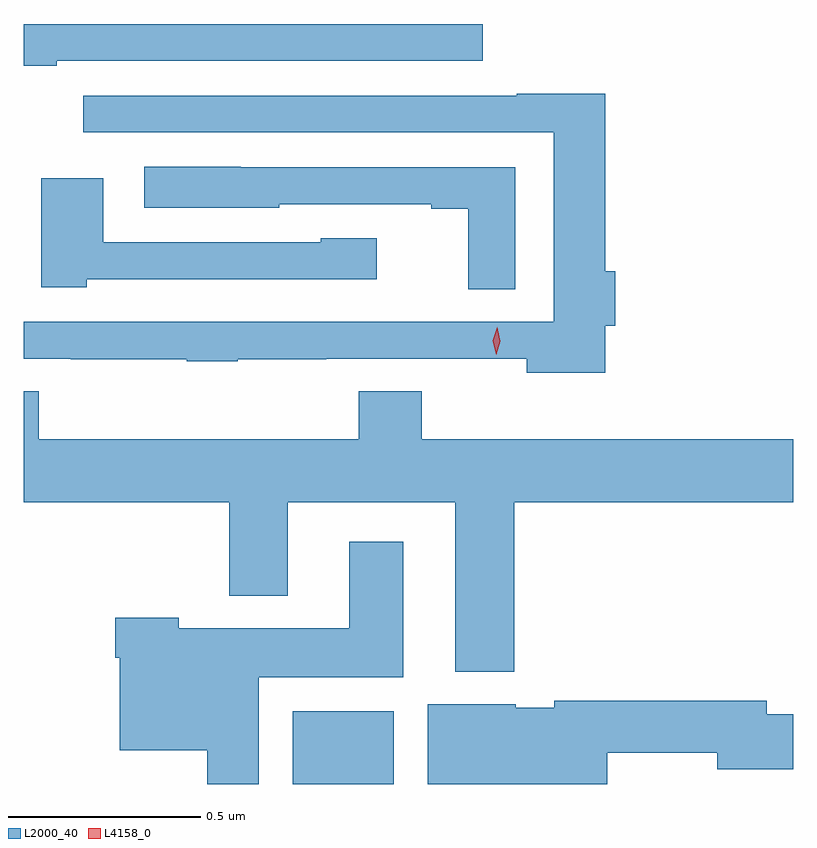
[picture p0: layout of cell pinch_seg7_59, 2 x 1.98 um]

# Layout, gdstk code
import gdstk
lib = gdstk.Library(unit=1e-6, precision=1e-09)
def R(c, l, rs):  # rectangles x0, y0, x1, y1
    for r in rs: c.add(gdstk.rectangle(r[:2], r[2:], *l))
def P(c, l, *ps):  # polygons
    for p in ps: c.add(gdstk.Polygon(p, *l))
L2000_40 = (2000, 40)
L4158_0 = (4158, 0)

pinch_seg7_59 = lib.new_cell('pinch_seg7_59')
R(pinch_seg7_59, L2000_40, [(893.288,1057.159,893.551,1057.348)])
P(pinch_seg7_59, L2000_40, [(892.675,1059.039),(893.782,1059.039),(893.782,1059.135),(892.589,1059.135),(892.589,1059.027),(892.675,1059.027)],
  [(894.101,1058.35),(894.127,1058.35),(894.127,1058.492),(894.101,1058.492),(894.101,1058.954),(893.87,1058.954),(893.87,1058.949),(892.743,1058.949),(892.743,1058.853),(893.966,1058.853),(893.966,1058.361),(892.589,1058.361),(892.589,1058.265),(892.711,1058.265),(892.711,1058.264),(893.013,1058.264),(893.013,1058.258),(893.145,1058.258),(893.145,1058.264),(893.375,1058.264),(893.375,1058.265),(893.897,1058.265),(893.897,1058.228),(894.101,1058.228)],
  [(893.866,1058.763),(893.153,1058.763),(893.153,1058.764),(892.902,1058.764),(892.902,1058.657),(893.253,1058.657),(893.253,1058.667),(893.648,1058.667),(893.648,1058.655),(893.744,1058.655),(893.744,1058.446),(893.866,1058.446)],
  [(892.752,1058.472),(893.506,1058.472),(893.506,1058.578),(893.361,1058.578),(893.361,1058.568),(892.795,1058.568),(892.795,1058.734),(892.634,1058.734),(892.634,1058.45),(892.752,1058.45)],
  [(893.864,1057.892),(894.589,1057.892),(894.589,1058.056),(893.624,1058.056),(893.624,1058.18),(893.459,1058.18),(893.459,1058.056),(892.628,1058.056),(892.628,1058.18),(892.589,1058.18),(892.589,1057.892),(893.123,1057.892),(893.123,1057.649),(893.275,1057.649),(893.275,1057.892),(893.711,1057.892),(893.711,1057.451),(893.864,1057.451)],
  [(893.2,1057.436),(893.575,1057.436),(893.575,1057.789),(893.435,1057.789),(893.435,1057.564),(892.992,1057.564),(892.992,1057.591),(892.826,1057.591),(892.826,1057.487),(892.838,1057.487),(892.838,1057.247),(893.066,1057.247),(893.066,1057.159),(893.2,1057.159)],
  [(894.106,1057.24),(894.392,1057.24),(894.392,1057.198),(894.589,1057.198),(894.589,1057.34),(894.52,1057.34),(894.52,1057.376),(893.968,1057.376),(893.968,1057.357),(893.868,1057.357),(893.868,1057.366),(893.639,1057.366),(893.639,1057.159),(894.106,1057.159)])
P(pinch_seg7_59, L4158_0, [(893.817,1058.275),(893.817,1058.275),(893.808,1058.311),(893.82,1058.347),(893.82,1058.347),(893.82,1058.347),(893.828,1058.31),(893.817,1058.275)])

lib.write_gds('pinch_seg7_59.gds')
